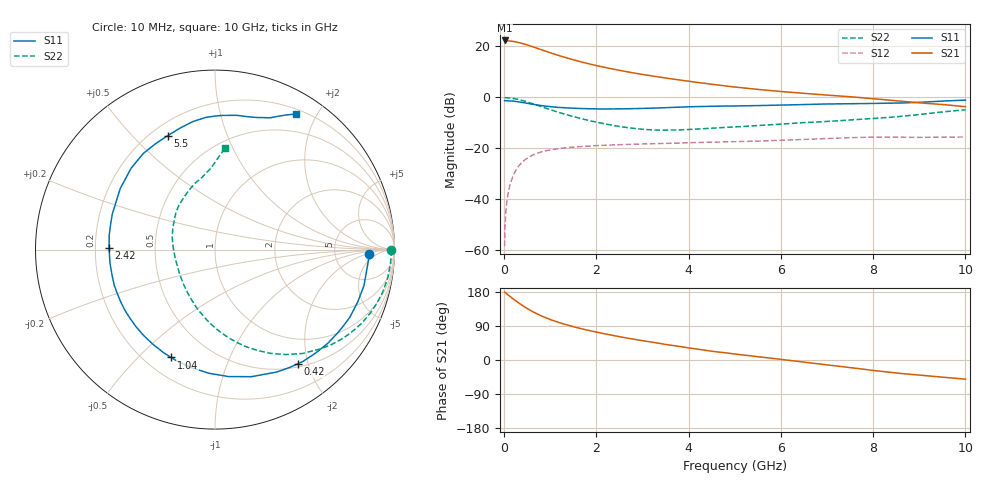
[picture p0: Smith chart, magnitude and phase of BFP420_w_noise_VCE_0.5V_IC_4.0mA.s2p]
! Infineon Technologies  Discrete & RF Semiconductors
! BFP420
! VCE =  0.5 V,  IC =  4.0 mA
! Common Emitter S-Parameters:  Jan 2016
# GHz  S  MA  R  50
!  f  S11  S21  S12  S22
! GHz  MAG  ANG  MAG  ANG  MAG  ANG  MAG  ANG
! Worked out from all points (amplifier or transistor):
!   233 points, 10 MHz to 10 GHz, reference 50 ohm
!   highest |S21| = 22.3 dB at 10 MHz (marker M1)
!   |S21| within 3 dB of that: start of sweep to 706.8 MHz
!   unconditionally stable (mu >= 1): 3.169 GHz to end of sweep
!   at 200 MHz: K = 0.07, MSG = 26.3 dB, |S12| = -30.6 dB
!   at 1.74 GHz: K = 0.57, MSG = 16.4 dB, |S12| = -19.2 dB
!   at 10 GHz: K = 1.11, MAG = 3.9 dB, |S12| = -15.6 dB
!   lowest NFmin = 0.61 dB at 900 MHz
!   S11 on the Smith chart (normalised r, x): 10 MHz: 12, -2; 420 MHz: 0.55, -1.83; 1.04 GHz: 0.30, -0.63; 2.42 GHz: 0.26, +0.01; 5.5 GHz: 0.26, +0.63; 10 GHz: 0.26, +1.73
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0.01  0.856 -1.6  13.02 179.3  0.0012 82.1  0.979 -0.2
0.025  0.8578 -3.3  12.73 177.9  0.0039 90.2  0.9819 -2.3
0.065  0.8528 -8.6  12.77 173.8  0.0099 85.4  0.9784 -6.1
0.15  0.8469 -20.2  12.66 165.6  0.0224 79.2  0.9644 -14.0
0.22  0.8344 -29.4  12.37 159.0  0.0323 73.7  0.942 -20.3
0.3  0.817 -39.7  11.98 151.8  0.0427 68.3  0.9109 -27.3
0.42  0.7856 -54.1  11.21 141.9  0.0562 60.7  0.8521 -36.9
0.6  0.7366 -74.0  9.954 128.6  0.0722 51.1  0.7575 -49.8
0.7  0.7115 -83.9  9.266 122.3  0.0789 46.6  0.7054 -56.0
0.9  0.6706 -101.4  8.014 111.4  0.089 39.3  0.6119 -66.9
1.04  0.6485 -112.1  7.268 105.1  0.0943 35.2  0.5556 -73.6
1.3  0.6223 -129.6  6.121 94.6  0.1015 29.1  0.4696 -85.0
1.68  0.6009 -150.3  4.92 82.3  0.1084 22.8  0.3789 -99.4
1.98  0.5927 -163.7  4.226 74.1  0.1124 19.0  0.3281 -110.0
2.42  0.5903 179.2  3.483 63.4  0.1169 14.5  0.2748 -126.2
3.4  0.6209 149.8  2.461 43.2  0.1239 7.3  0.2265 -163.4
4  0.6516 135.7  2.062 31.8  0.1284 3.9  0.2339 176.3
5.1  0.6779 118.0  1.554 14.3  0.1355 -1.6  0.2652 151.7
5.5  0.6872 112.6  1.427 8.6  0.1383 -3.3  0.2787 144.9
6.8  0.7318 96.2  1.139 -9.9  0.1526 -10.0  0.328 124.8
8.4  0.7648 75.0  0.87 -32.9  0.1646 -23.1  0.407 100.7
10  0.8796 59.2  0.654 -50.5  0.1666 -31.6  0.5689 84.2
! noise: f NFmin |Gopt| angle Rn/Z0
0.9  0.61  0.27  32  0.16
1.8  1.03  0.14  83  0.13
2.4  1.11  0.17  110  0.14
3  1.23  0.2  153  0.11
4  1.42  0.31  -151  0.11
5  1.77  0.38  -123  0.23
6  2.35  0.47  -104  0.33
